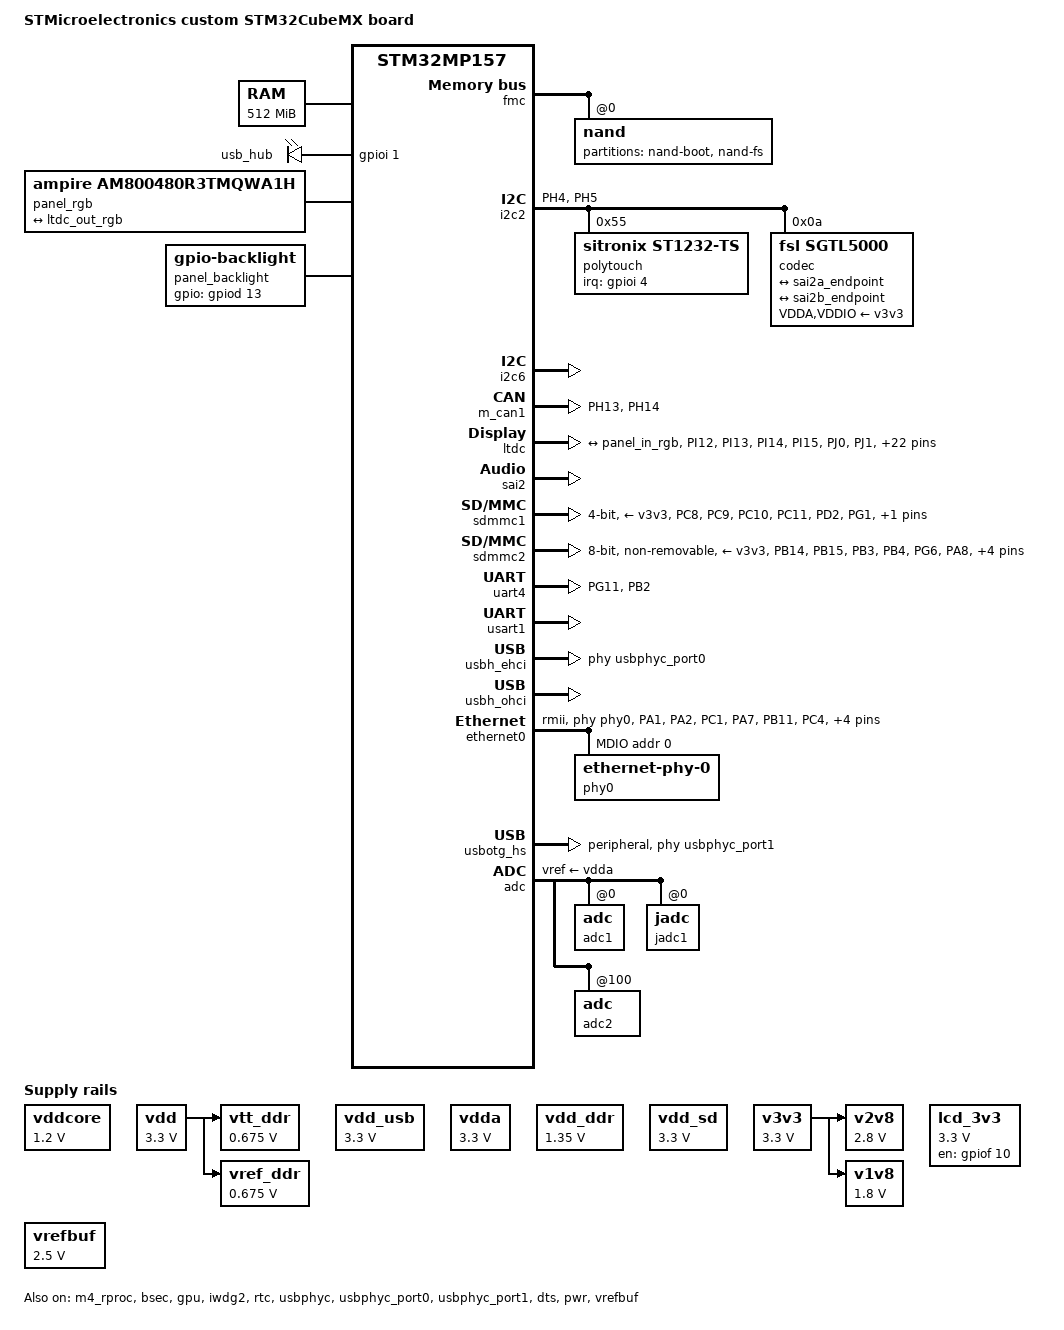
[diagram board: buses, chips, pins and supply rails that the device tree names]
/* SPDX-License-Identifier: (GPL-2.0+ OR BSD-3-Clause) */
/*
 * Copyright (C) STMicroelectronics 2019 - All Rights Reserved
 * Author: STM32CubeMX code generation for STMicroelectronics.
 */

/dts-v1/;
#include "stm32mp157c.dtsi"
#include "stm32mp157cac-pinctrl.dtsi"
#include "stm32mp157c-m4-srm.dtsi"
#include <dt-bindings/gpio/gpio.h>
#include <dt-bindings/input/input.h>

/* USER CODE BEGIN includes */
/* USER CODE END includes */

/ {
	model = "STMicroelectronics custom STM32CubeMX board";
	compatible = "st,stm32mp157a-icorestm32-mx", "st,stm32mp157";

    memory@c0000000 {
        reg = <0xc0000000 0x20000000>;

        /* USER CODE BEGIN memory */
        /* USER CODE END memory */
    };

    reserved-memory {
        #address-cells = <1>;
        #size-cells = <1>;
        ranges;

        /* USER CODE BEGIN reserved-memory */

		retram: retram@0x38000000 {
			compatible = "shared-dma-pool";
			reg = <0x38000000 0x10000>;
			no-map;
		};

		mcuram: mcuram@0x30000000 {
			compatible = "shared-dma-pool";
			reg = <0x30000000 0x40000>;
			no-map;
		};

		mcuram2: mcuram2@0x10000000 {
			compatible = "shared-dma-pool";
			reg = <0x10000000 0x40000>;
			no-map;
		};

		vdev0vring0: vdev0vring0@10040000 {
			compatible = "shared-dma-pool";
			reg = <0x10040000 0x2000>;
			no-map;
		};

		vdev0vring1: vdev0vring1@10042000 {
			compatible = "shared-dma-pool";
			reg = <0x10042000 0x2000>;
			no-map;
		};

		vdev0buffer: vdev0buffer@10044000 {
			compatible = "shared-dma-pool";
			reg = <0x10044000 0x4000>;
			no-map;
		};

        /* USER CODE END reserved-memory */

        gpu_reserved: gpu@dc000000 {
            reg = <0xdc000000 0x4000000>;
            no-map;
        };
    };

	vddcore: regulator-vddcore {
		compatible = "regulator-fixed";
		regulator-name = "vddcore";
		regulator-min-microvolt = <1200000>;
		regulator-max-microvolt = <1200000>;
		regulator-always-on;
	};

	vdd: regulator-vdd {
		compatible = "regulator-fixed";
		regulator-name = "vdd";
		regulator-min-microvolt = <3300000>;
		regulator-max-microvolt = <3300000>;
		regulator-always-on;
	};

	vdd_usb: regulator-vdd_usb {
		compatible = "regulator-fixed";
		regulator-name = "vdd_usb";
		regulator-min-microvolt = <3300000>;
		regulator-max-microvolt = <3300000>;
		regulator-always-on;
	};

	vdda: regulator-vdda {
		compatible = "regulator-fixed";
		regulator-name = "vdda";
		regulator-min-microvolt = <3300000>;
		regulator-max-microvolt = <3300000>;
		regulator-always-on;
	};

	vdd_ddr: regulator-vdd_ddr {
		compatible = "regulator-fixed";
		regulator-name = "vdd_ddr";
		regulator-min-microvolt = <1350000>;
		regulator-max-microvolt = <1350000>;
		regulator-always-on;
	};

	vtt_ddr: regulator-vtt_ddr {
		compatible = "regulator-fixed";
		regulator-name = "vtt_ddr";
		regulator-min-microvolt = <675000>;
		regulator-max-microvolt = <675000>;
		regulator-always-on;
		vin-supply = <&vdd>;
	};

	vref_ddr: regulator-vref_ddr {
		compatible = "regulator-fixed";
		regulator-name = "vref_ddr";
		regulator-min-microvolt = <675000>;
		regulator-max-microvolt = <675000>;
		regulator-always-on;
		vin-supply = <&vdd>;
	};

	vdd_sd: regulator-vdd_sd {
		compatible = "regulator-fixed";
		regulator-name = "vdd_sd";
		regulator-min-microvolt = <3300000>;
		regulator-max-microvolt = <3300000>;
		regulator-always-on;
	};

	v3v3: regulator-v3v3 {
		compatible = "regulator-fixed";
		regulator-name = "v3v3";
		regulator-min-microvolt = <3300000>;
		regulator-max-microvolt = <3300000>;
		regulator-always-on;
	};

	v2v8: regulator-v2v8 {
		compatible = "regulator-fixed";
		regulator-name = "v2v8";
		regulator-min-microvolt = <2800000>;
		regulator-max-microvolt = <2800000>;
		regulator-always-on;
		vin-supply = <&v3v3>;
	};

	v1v8: regulator-v1v8 {
		compatible = "regulator-fixed";
		regulator-name = "v1v8";
		regulator-min-microvolt = <1800000>;
		regulator-max-microvolt = <1800000>;
		regulator-always-on;
		vin-supply = <&v3v3>;
	};

	lcd_3v3: regulator-lcd_3v3 {
		compatible = "regulator-fixed";
		regulator-name = "lcd_3v3";
		regulator-min-microvolt = <3300000>;
		regulator-max-microvolt = <3300000>;
		gpio = <&gpiof 10 0>;
		enable-active-high;
		regulator-always-on;
	};

	/* USER CODE BEGIN root */
	
	sram: sram@10050000 {
		compatible = "mmio-sram";
		reg = <0x10050000 0x10000>;
		#address-cells = <1>;
		#size-cells = <1>;
		ranges = <0 0x10050000 0x10000>;

		dma_pool: dma_pool@0 {
			reg = <0x0 0x10000>;
			pool;
		};
	};
	
    aliases {
		ethernet0 = &ethernet0;
		serial0 = &uart4;
		serial1 = &uart8;
		serial2 = &usart3;
		serial3 = &uart7;
		serial4 = &usart1;		
	};

	usb_phy_tuning: usb-phy-tuning {
		st,hs-dc-level = <2>;
		st,fs-rftime-tuning;
		st,hs-rftime-reduction;
		st,hs-current-trim = <15>;
		st,hs-impedance-trim = <1>;
		st,squelch-level = <3>;
		st,hs-rx-offset = <2>;
		st,no-lsfs-sc;
	};
	
	led {
		compatible = "gpio-leds";
		blue {
			label = "usb_hub";
			gpios = <&gpioi 1 GPIO_ACTIVE_HIGH>;
			default-state = "on";
		};
	};
	
	/* USER CODE END root */

    clocks {
        /* USER CODE BEGIN clocks */
        /* USER CODE END clocks */

        clk_lsi: clk-lsi {
            clock-frequency = <32000>;
        };
        clk_hsi: clk-hsi {
            clock-frequency = <64000000>;
        };
        clk_csi: clk-csi {
            clock-frequency = <4000000>;
        };
        clk_hse: clk-hse {
            clock-frequency = <24000000>;
        };

        clk_mrclk: clk-mrclk {
            #clock-cells = <0>;
            compatible = "fixed-clock";
            clock-frequency = <31000000>;
        };
    };

    panel_rgb: panel-rgb {
		compatible = "ampire,am800480r3tmqwa1h";
		status = "okay";
		port {
			panel_in_rgb: endpoint {
				remote-endpoint = <&ltdc_out_rgb>;
			};
		};
	};
	
    panel_backlight: panel-backlight {
            compatible = "gpio-backlight";
            gpios = <&gpiod 13 GPIO_ACTIVE_HIGH>;
            default-on;
            status = "okay";
    };

	sound {
		compatible = "audio-graph-card";
		label = "i.Core STM32MP1";
		routing =
			"Playback" , "MCLK",
			"Capture" , "MCLK";
		dais = <&sai2a_port &sai2b_port>;
		status = "okay";
	};

}; 


/*root*/

&pinctrl {
    u-boot,dm-pre-reloc;

    eth1_pins_mx: eth1_mx-0 {
				pins {
					pinmux =  <STM32_PINMUX('A', 1, AF0)>, /* ETH_CLK */
						 <STM32_PINMUX('A', 2, AF11)>, /* ETH_MDIO */
						 <STM32_PINMUX('C', 1, AF11)>, /* ETH_MDC */
						 <STM32_PINMUX('A', 7, AF11)>, /* ETH_RX_DV */
						 <STM32_PINMUX('B', 11, AF11)>, /* ETH_TX_EN */
						 <STM32_PINMUX('C', 4, AF11)>, /* ETH_RX_D0 */
						 <STM32_PINMUX('C', 5, AF11)>, /* ETH_RX_D1 */
						 <STM32_PINMUX('G', 13, AF11)>, /* ETH_TX_D0 */
						 <STM32_PINMUX('G', 14, AF11)>; /* ETH_TX_D1 */
					bias-disable;
					drive-push-pull;
					slew-rate = <3>;
				};
/*				
				pins2 {
                    pinmux = <STM32_PINMUX('D', 10, GPIO)>;
                    bias-pull-up;
                    drive-push-pull;
                    output-high;
                    slew-rate = <0>;
                };
*/
    };


    fdcan1_pins_mx: fdcan1_mx-0 {
        pins1 {
            pinmux = <STM32_PINMUX('H', 13, AF9)>; /* FDCAN1_TX */
            bias-disable;
            drive-push-pull;
            slew-rate = <0>;
        };
        pins2 {
            pinmux = <STM32_PINMUX('H', 14, AF9)>; /* FDCAN1_RX */
            bias-disable;
        };
    };
    fmc_pins_mx: fmc_mx-0 {
        u-boot,dm-pre-reloc;
        pins1 {
            u-boot,dm-pre-reloc;
            pinmux = <STM32_PINMUX('D', 0, AF12)>, /* FMC_D2 */
                     <STM32_PINMUX('D', 1, AF12)>, /* FMC_D3 */
                     <STM32_PINMUX('D', 4, AF12)>, /* FMC_NOE */
                     <STM32_PINMUX('D', 5, AF12)>, /* FMC_NWE */
                     <STM32_PINMUX('D', 11, AF12)>, /* FMC_CLE */
                     <STM32_PINMUX('D', 12, AF12)>, /* FMC_ALE */
                     <STM32_PINMUX('D', 14, AF12)>, /* FMC_D0 */
                     <STM32_PINMUX('D', 15, AF12)>, /* FMC_D1 */
                     <STM32_PINMUX('E', 7, AF12)>, /* FMC_D4 */
                     <STM32_PINMUX('E', 8, AF12)>, /* FMC_D5 */
                     <STM32_PINMUX('E', 9, AF12)>, /* FMC_D6 */
                     <STM32_PINMUX('E', 10, AF12)>, /* FMC_D7 */
                     <STM32_PINMUX('G', 9, AF12)>; /* FMC_NCE */
            bias-disable;
            drive-push-pull;
            slew-rate = <1>;
        };
        pins2 {
            u-boot,dm-pre-reloc;
            pinmux = <STM32_PINMUX('D', 6, AF12)>; /* FMC_NWAIT */
            bias-disable;
        };
    };
    i2c2_pins_mx: i2c2_mx-0 {
        pins {
            pinmux = <STM32_PINMUX('H', 4, AF4)>, /* I2C2_SCL */
                     <STM32_PINMUX('H', 5, AF4)>; /* I2C2_SDA */
            bias-disable;
            drive-open-drain;
            slew-rate = <0>;
        };
    };

    sai2a_pins_mx: sai2a_mx-0 {
        pins {
            pinmux = <STM32_PINMUX('E', 0, AF10)>, /* SAI2_MCLK_A */
                     <STM32_PINMUX('I', 5, AF10)>, /* SAI2_SCK_A */
                     <STM32_PINMUX('I', 6, AF10)>, /* SAI2_SD_A */
                     <STM32_PINMUX('I', 7, AF10)>; /* SAI2_FS_A */
            bias-disable;
            drive-push-pull;
            slew-rate = <0>;
        };
    };
    sai2b_pins_mx: sai2b_mx-0 {
        pins {
            pinmux = <STM32_PINMUX('C', 0, AF8)>, /* SAI2_FS_B */
                     <STM32_PINMUX('E', 6, AF10)>, /* SAI2_MCLK_B */
                     <STM32_PINMUX('F', 11, AF10)>, /* SAI2_SD_B */
                     <STM32_PINMUX('H', 2, AF10)>; /* SAI2_SCK_B */
            bias-disable;
            drive-push-pull;
            slew-rate = <0>;
        };
    };
    sdmmc1_pins_mx: sdmmc1_mx-0 {
        u-boot,dm-pre-reloc;
        pins1 {
            u-boot,dm-pre-reloc;
            pinmux = <STM32_PINMUX('C', 8, AF12)>, /* SDMMC1_D0 */
                     <STM32_PINMUX('C', 9, AF12)>, /* SDMMC1_D1 */
                     <STM32_PINMUX('C', 10, AF12)>, /* SDMMC1_D2 */
                     <STM32_PINMUX('C', 11, AF12)>, /* SDMMC1_D3 */
                     <STM32_PINMUX('D', 2, AF12)>, /* SDMMC1_CMD */
                     <STM32_PINMUX('G', 1, GPIO)>; /* SDMMC1_CD */
            bias-pull-up;
            drive-push-pull;
            slew-rate = <1>;
        };
        pins2 {
            u-boot,dm-pre-reloc;
            pinmux = <STM32_PINMUX('C', 12, AF12)>; /* SDMMC1_CK */
            bias--pull-up;
            drive-push-pull;
            slew-rate = <3>;
        };
    };
    sdmmc2_pins_mx: sdmmc2_mx-0 {
        u-boot,dm-pre-reloc;
        pins1 {
            u-boot,dm-pre-reloc;
					pinmux = <STM32_PINMUX('B', 14, AF9)>, /* SDMMC2_D0 */
						 <STM32_PINMUX('B', 15, AF9)>, /* SDMMC2_D1 */
						 <STM32_PINMUX('B', 3, AF9)>, /* SDMMC2_D2 */
						 <STM32_PINMUX('B', 4, AF9)>, /* SDMMC2_D3 */						 
						 <STM32_PINMUX('G', 6, AF10)>, /* SDMMC2_CMD */
						 <STM32_PINMUX('A', 8, AF9)>, /* SDMMC2_D4 */
						 <STM32_PINMUX('A', 9, AF10)>, /* SDMMC2_D5 */
						 <STM32_PINMUX('E', 5, AF9)>, /* SDMMC2_D6 */
						 <STM32_PINMUX('D', 3, AF9)>; /* SDMMC2_D7 */
					slew-rate = <3>;
					drive-push-pull;
					bias-pull-up;
        };
        pins2 {
            u-boot,dm-pre-reloc;
            pinmux = <STM32_PINMUX('E', 3, AF9)>; /* SDMMC2_CK */
            bias-disable;
            drive-push-pull;
            slew-rate = <3>;
        };
    };
    uart4_pins_mx: uart4_mx-0 {
        u-boot,dm-pre-reloc;
        pins1 {
            u-boot,dm-pre-reloc;
            pinmux = <STM32_PINMUX('G', 11, AF6)>; /* UART4_TX */
            bias-disable;
            drive-push-pull;
            slew-rate = <0>;
        };
        pins2 {
            u-boot,dm-pre-reloc;
            pinmux = <STM32_PINMUX('B', 2, AF8)>; /* UART4_RX */
            bias-disable;
        };
    };

    eth1_sleep_pins_mx: eth1_sleep_mx-0 {
        pins {
            pinmux = <STM32_PINMUX('A', 1, ANALOG)>, /* ETH1_CLK */
                     <STM32_PINMUX('A', 2, ANALOG)>, /* ETH1_MDIO */
                     <STM32_PINMUX('A', 7, ANALOG)>, /* ETH1_CRS_DV */
                     <STM32_PINMUX('B', 11, ANALOG)>, /* ETH1_TX_EN */
                     <STM32_PINMUX('C', 1, ANALOG)>, /* ETH1_MDC */
                     <STM32_PINMUX('C', 4, ANALOG)>, /* ETH1_RXD0 */
                     <STM32_PINMUX('C', 5, ANALOG)>, /* ETH1_RXD1 */
                     <STM32_PINMUX('G', 8, ANALOG)>, /* ETH1_PPS_OUT */
                     <STM32_PINMUX('G', 13, ANALOG)>, /* ETH1_TXD0 */
                     <STM32_PINMUX('G', 14, ANALOG)>; /* ETH1_TXD1 */
        };
    };
    fdcan1_sleep_pins_mx: fdcan1_sleep_mx-0 {
        pins {
            pinmux = <STM32_PINMUX('H', 13, ANALOG)>, /* FDCAN1_TX */
                     <STM32_PINMUX('H', 14, ANALOG)>; /* FDCAN1_RX */
        };
    };
    fmc_sleep_pins_mx: fmc_sleep_mx-0 {
        u-boot,dm-pre-reloc;
        pins {
            u-boot,dm-pre-reloc;
            pinmux = <STM32_PINMUX('D', 0, ANALOG)>, /* FMC_D2 */
                     <STM32_PINMUX('D', 1, ANALOG)>, /* FMC_D3 */
                     <STM32_PINMUX('D', 4, ANALOG)>, /* FMC_NOE */
                     <STM32_PINMUX('D', 5, ANALOG)>, /* FMC_NWE */
                     <STM32_PINMUX('D', 6, ANALOG)>, /* FMC_NWAIT */
                     <STM32_PINMUX('D', 11, ANALOG)>, /* FMC_CLE */
                     <STM32_PINMUX('D', 12, ANALOG)>, /* FMC_ALE */
                     <STM32_PINMUX('D', 14, ANALOG)>, /* FMC_D0 */
                     <STM32_PINMUX('D', 15, ANALOG)>, /* FMC_D1 */
                     <STM32_PINMUX('E', 7, ANALOG)>, /* FMC_D4 */
                     <STM32_PINMUX('E', 8, ANALOG)>, /* FMC_D5 */
                     <STM32_PINMUX('E', 9, ANALOG)>, /* FMC_D6 */
                     <STM32_PINMUX('E', 10, ANALOG)>, /* FMC_D7 */
                     <STM32_PINMUX('G', 9, ANALOG)>; /* FMC_NCE */
        };
    };
    i2c2_sleep_pins_mx: i2c2_sleep_mx-0 {
        pins {
            pinmux = <STM32_PINMUX('H', 4, ANALOG)>, /* I2C2_SCL */
                     <STM32_PINMUX('H', 5, ANALOG)>; /* I2C2_SDA */
        };
    };

    sai2a_sleep_pins_mx: sai2a_sleep_mx-0 {
        pins {
            pinmux = <STM32_PINMUX('E', 0, ANALOG)>, /* SAI2_MCLK_A */
                     <STM32_PINMUX('I', 5, ANALOG)>, /* SAI2_SCK_A */
                     <STM32_PINMUX('I', 6, ANALOG)>, /* SAI2_SD_A */
                     <STM32_PINMUX('I', 7, ANALOG)>; /* SAI2_FS_A */
        };
    };
    sai2b_sleep_pins_mx: sai2b_sleep_mx-0 {
        pins {
            pinmux = <STM32_PINMUX('C', 0, ANALOG)>, /* SAI2_FS_B */
                     <STM32_PINMUX('E', 6, ANALOG)>, /* SAI2_MCLK_B */
                     <STM32_PINMUX('F', 11, ANALOG)>, /* SAI2_SD_B */
                     <STM32_PINMUX('H', 2, ANALOG)>; /* SAI2_SCK_B */
        };
    };
    sdmmc1_sleep_pins_mx: sdmmc1_sleep_mx-0 {
        u-boot,dm-pre-reloc;
        pins {
            u-boot,dm-pre-reloc;
            pinmux = <STM32_PINMUX('C', 8, ANALOG)>, /* SDMMC1_D0 */
                     <STM32_PINMUX('C', 9, ANALOG)>, /* SDMMC1_D1 */
                     <STM32_PINMUX('C', 10, ANALOG)>, /* SDMMC1_D2 */
                     <STM32_PINMUX('C', 11, ANALOG)>, /* SDMMC1_D3 */
                     <STM32_PINMUX('C', 12, ANALOG)>, /* SDMMC1_CK */
                     <STM32_PINMUX('D', 2, ANALOG)>; /* SDMMC1_CMD */
        };
    };
    sdmmc2_sleep_pins_mx: sdmmc2_sleep_mx-0 {
        u-boot,dm-pre-reloc;
        pins {
            u-boot,dm-pre-reloc;
            pinmux = <STM32_PINMUX('A', 8, ANALOG)>, /* SDMMC2_D4 */
                     <STM32_PINMUX('A', 9, ANALOG)>, /* SDMMC2_D5 */
                     <STM32_PINMUX('B', 3, ANALOG)>, /* SDMMC2_D2 */
                     <STM32_PINMUX('B', 4, ANALOG)>, /* SDMMC2_D3 */
                     <STM32_PINMUX('B', 14, ANALOG)>, /* SDMMC2_D0 */
                     <STM32_PINMUX('B', 15, ANALOG)>, /* SDMMC2_D1 */
                     <STM32_PINMUX('D', 3, ANALOG)>, /* SDMMC2_D7 */
                     <STM32_PINMUX('E', 3, ANALOG)>, /* SDMMC2_CK */
                     <STM32_PINMUX('E', 5, ANALOG)>, /* SDMMC2_D6 */
                     <STM32_PINMUX('G', 6, ANALOG)>; /* SDMMC2_CMD */
        };
    };
    uart4_sleep_pins_mx: uart4_sleep_mx-0 {
        u-boot,dm-pre-reloc;
        pins {
            u-boot,dm-pre-reloc;
            pinmux = <STM32_PINMUX('B', 2, ANALOG)>, /* UART4_RX */
                     <STM32_PINMUX('G', 11, ANALOG)>; /* UART4_TX */
        };
    };

    pinctrl_st1232_ts: pinctrl_st1232_ts-0 {
            pins {
			pinmux = <STM32_PINMUX('I', 4, GPIO)>;
		};
	};	

    lcd_pins_icore: lcd-0 {
        pins {
            pinmux = <STM32_PINMUX('I', 12,  AF14)>,/* LCD_HSYNC */
                    <STM32_PINMUX('I', 13,  AF14)>,/* LCD_VSYNC */
                    <STM32_PINMUX('I', 14,  AF14)>,/* LCD_PIXCLK */
                    <STM32_PINMUX('I', 15,  AF14)>,/* LCD_R0 */
                    <STM32_PINMUX('J', 0,  AF14)>,/* LCD_R1 */
                    <STM32_PINMUX('J', 1,  AF14)>,/* LCD_R2 */
                    <STM32_PINMUX('J', 2,  AF14)>,/* LCD_R3 */
                    <STM32_PINMUX('J', 3,  AF14)>,/* LCD_R4 */
                    <STM32_PINMUX('J', 4,  AF14)>,/* LCD_R5 */
                    <STM32_PINMUX('J', 5,  AF14)>,/* LCD_R6 */
                    <STM32_PINMUX('J', 6,  AF14)>,/* LCD_R7 */
                    <STM32_PINMUX('J', 7,  AF14)>,/* LCD_G0 */
                    <STM32_PINMUX('J', 8,  AF14)>,/* LCD_G1 */
                    <STM32_PINMUX('J', 9,  AF14)>,/* LCD_G2 */
                    <STM32_PINMUX('J', 10,  AF14)>,/* LCD_G3 */
                    <STM32_PINMUX('J', 11,  AF14)>,/* LCD_G4 */
                    <STM32_PINMUX('J', 12,  AF14)>,/* LCD_B0 */
                    <STM32_PINMUX('J', 13,  AF14)>,/* LCD_B1 */
                    <STM32_PINMUX('J', 14,  AF14)>,/* LCD_B2 */
                    <STM32_PINMUX('J', 15,  AF14)>,/* LCD_B3 */
                    <STM32_PINMUX('K', 0,  AF14)>,/* LCD_G5 */
                    <STM32_PINMUX('K', 1,  AF14)>,/* LCD_G6 */
                    <STM32_PINMUX('K', 2,  AF14)>,/* LCD_G7 */
                    <STM32_PINMUX('K', 3,  AF14)>,/* LCD_B4 */
                    <STM32_PINMUX('K', 4,  AF14)>,/* LCD_B5 */
                    <STM32_PINMUX('K', 5,  AF14)>,/* LCD_B6 */
                    <STM32_PINMUX('K', 6,  AF14)>,/* LCD_B7 */
                    <STM32_PINMUX('K', 7,  AF14)>;/* LCD_DE */
            bias-disable;
            drive-push-pull;
            slew-rate = <3>;
        };
    };
};

&pinctrl_z {
    u-boot,dm-pre-reloc;
    i2c6_pins_z_mx: i2c6_mx-0 {
        pins {
            pinmux = <STM32_PINMUX('Z', 7, AF2)>, /* I2C6_SDA */
                     <STM32_PINMUX('Z', 6, AF2)>; /* I2C6_SCL */
            bias-disable;
            drive-open-drain;
            slew-rate = <0>;
        };
    };
    i2c6_sleep_pins_z_mx: i2c6_sleep_mx-0 {
        pins {
            pinmux = <STM32_PINMUX('Z', 7, ANALOG)>, /* I2C6_SDA */
                     <STM32_PINMUX('Z', 6, ANALOG)>; /* I2C6_SCL */
        };
    };
};

&m4_rproc{
    recovery;
    status = "okay";

    /* USER CODE BEGIN m4_rproc */
    /* USER CODE END m4_rproc */
};

&bsec{
    status = "okay";

    /* USER CODE BEGIN bsec */
    /* USER CODE END bsec */
};


&fmc{
    u-boot,dm-pre-reloc;
    pinctrl-names = "default", "sleep";
    pinctrl-0 = <&fmc_pins_mx>;
    pinctrl-1 = <&fmc_sleep_pins_mx>;
    status = "okay";

    /* USER CODE BEGIN fmc */
    /* USER CODE END fmc */
};

&gpu{
    status = "okay";

    /* USER CODE BEGIN gpu */
    /* USER CODE END gpu */
};

&i2c2 {
	pinctrl-names = "default", "sleep";
	pinctrl-0 = <&i2c2_pins_mx>;
	pinctrl-1 = <&i2c2_sleep_pins_mx>;
	i2c-scl-rising-time-ns = <185>;
	i2c-scl-falling-time-ns = <20>;
	status = "okay";
	/delete-property/dmas;
	/delete-property/dma-names;


	polytouch: st1232_ts@55 {
		compatible = "sitronix,st1232-ts";
		reg = <0x55>;
		pinctrl-names = "default";		
		pinctrl-0 = <&pinctrl_st1232_ts>;
		interrupt-parent = <&gpioi>;
		interrupts = <4 2>;	
    };

	codec: sgtl5000@a {
		compatible = "fsl,sgtl5000";
		#sound-dai-cells = <0>;
		reg = <0x0a>;
		status = "okay";

		clocks = <&sai2a>;
		clock-names = "MCLK";

		VDDA-supply = <&v3v3>;
		VDDIO-supply = <&v3v3>;
		
		ports {
			#address-cells = <1>;
			#size-cells = <0>;

			sgtl5000_tx_port: port-0 {
                	reg = <0>;
				sgtl5000_tx_endpoint: endpoint {
					remote-endpoint = <&sai2a_endpoint>;
				};
			};

			sgtl5000_rx_port: port@1 {
                	reg = <1>;
				sgtl5000_rx_endpoint: endpoint {
					remote-endpoint = <&sai2b_endpoint>;
				};
			};
		};
	};
};

&i2c6{
    pinctrl-names = "default", "sleep";
    pinctrl-0 = <&i2c6_pins_z_mx>;
    pinctrl-1 = <&i2c6_sleep_pins_z_mx>;
	i2c-scl-rising-time-ns = <185>;
	i2c-scl-falling-time-ns = <20>;
	status = "okay";
	/delete-property/dmas;
	/delete-property/dma-names;

    /* USER CODE BEGIN i2c6 */
    /* USER CODE END i2c6 */
};


&m_can1{
    pinctrl-names = "default", "sleep";
    pinctrl-0 = <&fdcan1_pins_mx>;
    pinctrl-1 = <&fdcan1_sleep_pins_mx>;
    status = "okay";

    /* USER CODE BEGIN m_can1 */
    /* USER CODE END m_can1 */
};

&iwdg2{
    status = "okay";

    /* USER CODE BEGIN iwdg2 */
    /* USER CODE END iwdg2 */
};


&rcc{
    u-boot,dm-pre-reloc;
    status = "okay";

    /* USER CODE BEGIN rcc */
    /* USER CODE END rcc */
};

&rtc{
    status = "okay";

    /* USER CODE BEGIN rtc */
    /* USER CODE END rtc */
};

&ltdc {
	status = "okay";
	pinctrl-0 = <&lcd_pins_icore>;
	pinctrl-names = "default";
	
    backlight = <&panel_backlight>;

	port {
        #address-cells = <1>;
		#size-cells = <0>;
		
		ltdc_out_rgb: endpoint@0 {
            reg = <0>;
			remote-endpoint = <&panel_in_rgb>;
		};
	};
};

&sai2 {
	clocks = <&rcc SAI2>, <&rcc PLL3_Q>, <&rcc PLL4_Q>;
	clock-names = "pclk", "x8k", "x11k";
	status = "okay";
    frame-master;
    bitclock-master;
	sai2a: audio-controller@4400b004 {
		#clock-cells = <0>;
		pinctrl-names = "default";
		pinctrl-0 = <&sai2a_pins_mx>;
		dma-names = "tx";
		clocks = <&rcc SAI2_K>, <&sai2a>;
		clock-names = "sai_ck", "MCLK";
		status = "okay";
		
		sai2a_port: port@0 {
			sai2a_endpoint: endpoint {
				remote-endpoint = <&sgtl5000_tx_endpoint>;
				format = "i2s";
				mclk-fs = <256>;
			};
		};
	};

	sai2b: audio-controller@4400b024 {
		pinctrl-names = "default";
		pinctrl-0 = <&sai2b_pins_mx>;
		dma-names = "rx";
		clocks = <&rcc SAI2_K>, <&sai2a>;
		clock-names = "sai_ck", "MCLK";
		st,sync = <&sai2a 2>;
		status = "okay";

		sai2b_port: port@0 {
			sai2b_endpoint: endpoint {
				remote-endpoint = <&sgtl5000_rx_endpoint>;
				format = "i2s";
				mclk-fs = <256>;
			};
		};
	};
};
&sdmmc1{
    u-boot,dm-pre-reloc;
    pinctrl-names = "default", "sleep";
    pinctrl-0 = <&sdmmc1_pins_mx>;
    pinctrl-1 = <&sdmmc1_sleep_pins_mx>;
    status = "okay";

    /* USER CODE BEGIN sdmmc1 */
    broken-cd;
	st,neg-edge;
	bus-width = <4>;
	vmmc-supply = <&v3v3>;
    /* USER CODE END sdmmc1 */
};

&sdmmc2{
    u-boot,dm-pre-reloc;
    pinctrl-names = "default", "sleep";
    pinctrl-0 = <&sdmmc2_pins_mx>;
    pinctrl-1 = <&sdmmc2_sleep_pins_mx>;
    status = "okay";

    /* USER CODE BEGIN sdmmc2 */  
    non-removable;
	no-sd;
	no-sdio;
	st,dirpol;
	st,negedge;
	bus-width = <8>;
	vmmc-supply = <&v3v3>;
	vqmmc-supply = <&v3v3>;
    /* USER CODE END sdmmc2 */
};

&uart4{
    u-boot,dm-pre-reloc;
    pinctrl-names = "default", "sleep";
    pinctrl-0 = <&uart4_pins_mx>;
    pinctrl-1 = <&uart4_sleep_pins_mx>;
    status = "okay";

    /* USER CODE BEGIN uart4 */
    /* USER CODE END uart4 */
};


&pinctrl_z {
    usart1_pins_mx: usart1_mx-0 {
        u-boot,dm-pre-reloc;
        pins1 {
            u-boot,dm-pre-reloc;
            pinmux = <STM32_PINMUX('Z', 1, AF7)>; /* USART1_RX */
            bias-disable;
        };
        pins2 {
            u-boot,dm-pre-reloc;
            pinmux = <STM32_PINMUX('Z', 2, AF7)>; /* USART1_TX */
            bias-disable;
            drive-push-pull;
            slew-rate = <0>;
        };
    };
};

&usart1{
    u-boot,dm-pre-reloc;
    pinctrl-names = "default";
    pinctrl-0 = <&usart1_pins_mx>;
    status = "okay";

    /* USER CODE BEGIN uart4 */
    /* USER CODE END uart4 */
};

&usbh_ehci{
    status = "okay";

    /* USER CODE BEGIN usbh_ehci */
    /* USER CODE END usbh_ehci */
};

&usbh_ohci{
    status = "okay";

    /* USER CODE BEGIN usbh_ohci */
    /* USER CODE END usbh_ohci */
};


&usbphyc{
    u-boot,dm-pre-reloc;
    status = "okay";

    /* USER CODE BEGIN usbphyc */
    /* USER CODE END usbphyc */
};

&usbphyc_port0{
    u-boot,dm-pre-reloc;
    status = "okay";

    /* USER CODE BEGIN usbphyc_port0 */
    /* USER CODE END usbphyc_port0 */
};

&usbphyc_port1{
    u-boot,dm-pre-reloc;
    status = "okay";

    /* USER CODE BEGIN usbphyc_port1 */
    /* USER CODE END usbphyc_port1 */
};

/* USER CODE BEGIN addons */


&ethernet0 {
    pinctrl-names = "default";
    pinctrl-0 = <&eth1_pins_mx>;
	phy-mode = "rmii";
	max-speed = <100>;
	phy-handle = <&phy0>;
	snps,ps-speed = <100>;
    st,eth_ref_clk_sel;
	status = "okay";

    clock-names = "stmmaceth",
                "mac-clk-tx",
                "mac-clk-rx",
                "ethstp",
                "syscfg-clk",
                "eth-ck";

    clocks = <&rcc ETHMAC>,
            <&rcc ETHTX>,
            <&rcc ETHRX>,
            <&rcc ETHSTP>,
            <&rcc SYSCFG>,
            <&rcc ETHCK_K>;

	snps,reset-gpio = <&gpiod 10 GPIO_ACTIVE_LOW>;
    snps,reset-delays-us = <25>;
    snps,reset-active-low;

    mdio0 {
		#address-cells = <1>;
		#size-cells = <0>;
		compatible = "snps,dwmac-mdio";

		phy0: ethernet-phy-0 {
			reg = <0>;
		};
	};
};

&usbh_ehci {
	phys = <&usbphyc_port0>;
	phy-names = "usb";
	status = "okay";
};

&usbotg_hs {
	dr_mode = "peripheral";
	force-b-session-valid;
	phys = <&usbphyc_port1 0>;
	phy-names = "usb2-phy";
	status = "okay";
};

&fmc {
	pinctrl-names = "default";
	pinctrl-0 = <&fmc_pins_a>;
	status = "okay";
	#address-cells = <1>;
	#size-cells = <0>;

	nand: nand@0 {
		reg = <0>;
		nand-on-flash-bbt;
		#address-cells = <1>;
		#size-cells = <1>;
		
        partition@0 {
            label = "nand-boot";
            reg = <0x00000000 0x01400000>;
        };

        partition@1400000 {
            label = "nand-fs";
            reg = <0x01400000 0x1e000000>;
        };
	};
};


&adc {
	/* ANA0, ANA1 are dedicated pins and don't need pinctrl: only in6. */
	vdd-supply = <&vdd>;
	vdda-supply = <&vdda>;
	vref-supply = <&vdda>;
	status = "okay";
	adc1: adc@0 {
		st,adc-channels = <0 1>;
		/* 16.5 ck_cycles sampling time */
		st,min-sample-time-nsecs = <400>;
		status = "okay";
	};
	jadc1: jadc@0 {
		st,adc-channels = <0 1>;
		/* 16.5 ck_cycles sampling time */
		st,min-sample-time-nsecs = <400>;
		status = "okay";
	};
	/* temperature sensor on adc2 */
	adc2: adc@100 {
		status = "okay";
	};
	adc_temp: temp {
		status = "okay";
	};
};

&dts {
	status = "okay";
};

&pwr {
	status = "okay";
};

&vrefbuf {
	regulator-min-microvolt = <2500000>;
	regulator-max-microvolt = <2500000>;
	vdda-supply = <&vdd>;
	status = "okay";
};


&gpu {
	contiguous-area = <&gpu_reserved>;
	status = "okay";
};

&dma1 {
	sram = <&dma_pool>;
};

&dma2 {
	sram = <&dma_pool>;
};
/* USER CODE END addons */

